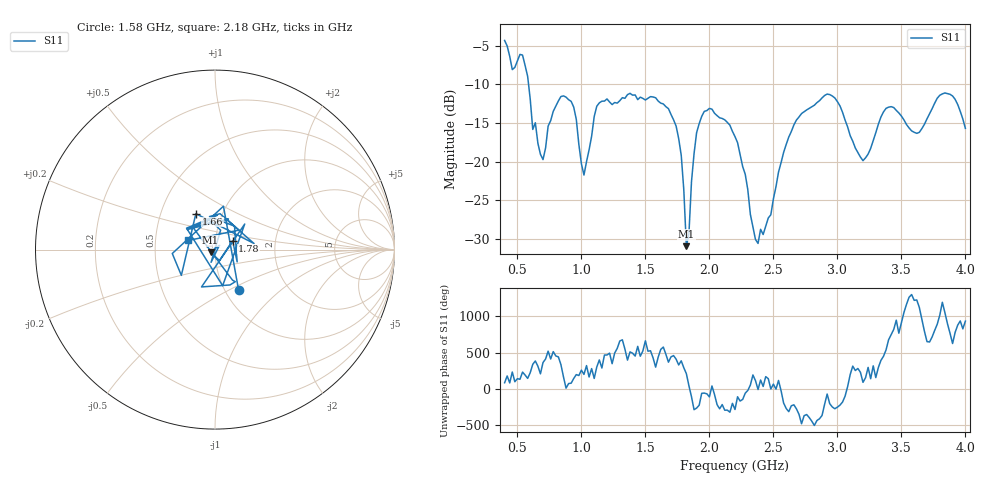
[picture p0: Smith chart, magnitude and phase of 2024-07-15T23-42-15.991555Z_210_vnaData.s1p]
!Created with skrf (http://scikit-rf.org).
# Hz S RI R 50.0
!freq ReS11 ImS11
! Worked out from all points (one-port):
!   181 points, 400 MHz to 4 GHz, reference 50 ohm
!   lowest |S11| = -30.9 dB at 1.82 GHz (marker M1), VSWR 1.06, Z = 47.6 - j1.38 ohm
!   |S11| at or under -10 dB: 587.1 MHz to end of sweep
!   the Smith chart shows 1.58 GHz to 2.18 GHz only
!   S11 on the Smith chart (normalised r, x): 1.58 GHz: 1.16, -0.55; 1.66 GHz: 0.75, +0.32; 1.78 GHz: 1.21, +0.12; 2.18 GHz: 0.74, +0.08
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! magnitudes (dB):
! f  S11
! 400 MHz  -4.3
! 460 MHz  -8.1
! 540 MHz  -6.2
! 620 MHz  -15.8
! 700 MHz  -19.7
! 860 MHz  -11.5
! 940 MHz  -12.9
! 1.02 GHz  -21.7
! 1.12 GHz  -12.8
! 1.3 GHz  -12.1
! 1.58 GHz  -11.7
! 1.66 GHz  -12.9
! 1.76 GHz  -17.0
! 1.78 GHz  -19.2
! 1.82 GHz  -30.9
! 1.88 GHz  -19.0
! 1.94 GHz  -14.1
! 2.18 GHz  -16.1
! 2.2 GHz  -16.8
! 2.38 GHz  -30.6
! 2.66 GHz  -15.2
! 2.94 GHz  -11.3
! 3.1 GHz  -16.6
! 3.2 GHz  -19.9
! 3.38 GHz  -13.1
! 3.56 GHz  -15.6
! 3.84 GHz  -11.1
! 4 GHz  -15.7
